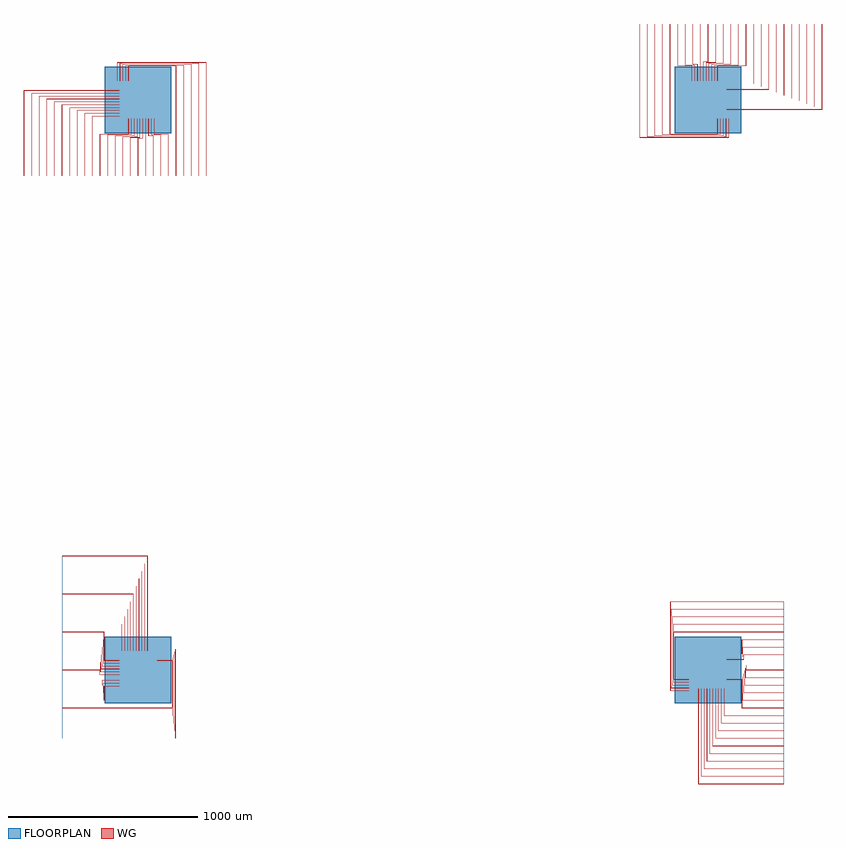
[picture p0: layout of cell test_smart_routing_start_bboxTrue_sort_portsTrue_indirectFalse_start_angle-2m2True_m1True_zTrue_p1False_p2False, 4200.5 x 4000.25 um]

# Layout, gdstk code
import gdstk
lib = gdstk.Library(unit=1e-6, precision=1e-09)
def R(c, l, rs):  # rectangles x0, y0, x1, y1
    for r in rs: c.add(gdstk.rectangle(r[:2], r[2:], *l))
def P(c, l, *ps):  # polygons
    for p in ps: c.add(gdstk.Polygon(p, *l))
WG = (1, 0)
FLOORPLAN = (10, 0)

test_smart_routing_start = lib.new_cell('test_smart_routing_start_bboxTrue_sort_portsTrue_indirectFalse_start_angle-2m2True_m1True_zTrue_p1False_p2False')
R(test_smart_routing_start, WG, [(-400,-40.25,-100,-39.75), (3100,39.75,3400,40.25), (39.75,2600,40.25,2900), (2959.75,3100,2960.25,3400)])
P(test_smart_routing_start, WG, [(49.75,100),(49.75,599.75),(-400,599.75),(-400,600.25),(50.25,600.25),(50.25,100)],
  [(34.75,100),(34.75,559.75),(-400,559.75),(-400,560.25),(35.25,560.25),(35.25,100)],
  [(19.75,100),(19.75,519.75),(-400,519.75),(-400,520.25),(20.25,520.25),(20.25,100)],
  [(4.75,100),(4.75,479.75),(-400,479.75),(-400,480.25),(5.25,480.25),(5.25,100)],
  [(-10.25,100),(-10.25,439.75),(-400,439.75),(-400,440.25),(-9.75,440.25),(-9.75,100)],
  [(-25.25,100),(-25.25,399.75),(-400,399.75),(-400,400.25),(-24.75,400.25),(-24.75,100)],
  [(-40.25,100),(-40.25,359.75),(-400,359.75),(-400,360.25),(-39.75,360.25),(-39.75,100)],
  [(-55.25,100),(-55.25,319.75),(-400,319.75),(-400,320.25),(-54.75,320.25),(-54.75,100)],
  [(-70.25,100),(-70.25,279.75),(-400,279.75),(-400,280.25),(-69.75,280.25),(-69.75,100)],
  [(-85.25,100),(-85.25,239.75),(-400,239.75),(-400,240.25),(-84.75,240.25),(-84.75,100)],
  [(-179.5,49.75),(-179.5,199.75),(-400,199.75),(-400,200.25),(-179,200.25),(-179,50.25),(-100,50.25),(-100,49.75)],
  [(-184,34.75),(-184,159.75),(-400,159.75),(-400,160.25),(-183.5,160.25),(-183.5,35.25),(-100,35.25),(-100,34.75)],
  [(-188.5,19.75),(-188.5,119.75),(-400,119.75),(-400,120.25),(-188,120.25),(-188,20.25),(-100,20.25),(-100,19.75)],
  [(-193,4.75),(-193,79.75),(-400,79.75),(-400,80.25),(-192.5,80.25),(-192.5,5.25),(-100,5.25),(-100,4.75)],
  [(-197.5,-10.25),(-197.5,39.75),(-400,39.75),(-400,40.25),(-197,40.25),(-197,-9.75),(-100,-9.75),(-100,-10.25)],
  [(-202,-25.25),(-202,-0.25),(-400,-0.25),(-400,0.25),(-201.5,0.25),(-201.5,-24.75),(-100,-24.75),(-100,-25.25)],
  [(-400,-80.25),(-400,-79.75),(-188.5,-79.75),(-188.5,-54.75),(-100,-54.75),(-100,-55.25),(-188,-55.25),(-188,-80.25)],
  [(-400,-120.25),(-400,-119.75),(-184,-119.75),(-184,-69.75),(-100,-69.75),(-100,-70.25),(-183.5,-70.25),(-183.5,-120.25)],
  [(-400,-160.25),(-400,-159.75),(-179.5,-159.75),(-179.5,-84.75),(-100,-84.75),(-100,-85.25),(-179,-85.25),(-179,-160.25)],
  [(-400,-200.25),(-400,-199.75),(179,-199.75),(179,49.75),(100,49.75),(100,50.25),(179.5,50.25),(179.5,-200.25)],
  [(-400,-240.25),(-400,-239.75),(183.5,-239.75),(183.5,64.75),(100,64.75),(100,65.25),(184,65.25),(184,-240.25)],
  [(-400,-280.25),(-400,-279.75),(188,-279.75),(188,79.75),(100,79.75),(100,80.25),(188.5,80.25),(188.5,-280.25)],
  [(-400,-320.25),(-400,-319.75),(192.5,-319.75),(192.5,94.75),(100,94.75),(100,95.25),(193,95.25),(193,-320.25)],
  [(-400,-360.25),(-400,-359.75),(197,-359.75),(197,109.75),(100,109.75),(100,110.25),(197.5,110.25),(197.5,-360.25)],
  [(-600.25,2600),(-600.25,3050.25),(-100,3050.25),(-100,3049.75),(-599.75,3049.75),(-599.75,2600)],
  [(-560.25,2600),(-560.25,3035.25),(-100,3035.25),(-100,3034.75),(-559.75,3034.75),(-559.75,2600)],
  [(-520.25,2600),(-520.25,3020.25),(-100,3020.25),(-100,3019.75),(-519.75,3019.75),(-519.75,2600)],
  [(-480.25,2600),(-480.25,3005.25),(-100,3005.25),(-100,3004.75),(-479.75,3004.75),(-479.75,2600)],
  [(-440.25,2600),(-440.25,2990.25),(-100,2990.25),(-100,2989.75),(-439.75,2989.75),(-439.75,2600)],
  [(-400.25,2600),(-400.25,2975.25),(-100,2975.25),(-100,2974.75),(-399.75,2974.75),(-399.75,2600)],
  [(-360.25,2600),(-360.25,2960.25),(-100,2960.25),(-100,2959.75),(-359.75,2959.75),(-359.75,2600)],
  [(-320.25,2600),(-320.25,2945.25),(-100,2945.25),(-100,2944.75),(-319.75,2944.75),(-319.75,2600)],
  [(-280.25,2600),(-280.25,2930.25),(-100,2930.25),(-100,2929.75),(-279.75,2929.75),(-279.75,2600)],
  [(-240.25,2600),(-240.25,2915.25),(-100,2915.25),(-100,2914.75),(-239.75,2914.75),(-239.75,2600)],
  [(-200.25,2600),(-200.25,2821),(-50.25,2821),(-50.25,2900),(-49.75,2900),(-49.75,2820.5),(-199.75,2820.5),(-199.75,2600)],
  [(-160.25,2600),(-160.25,2816.5),(-35.25,2816.5),(-35.25,2900),(-34.75,2900),(-34.75,2816),(-159.75,2816),(-159.75,2600)],
  [(-120.25,2600),(-120.25,2812),(-20.25,2812),(-20.25,2900),(-19.75,2900),(-19.75,2811.5),(-119.75,2811.5),(-119.75,2600)],
  [(-80.25,2600),(-80.25,2807.5),(-5.25,2807.5),(-5.25,2900),(-4.75,2900),(-4.75,2807),(-79.75,2807),(-79.75,2600)],
  [(-40.25,2600),(-40.25,2803),(9.75,2803),(9.75,2900),(10.25,2900),(10.25,2802.5),(-39.75,2802.5),(-39.75,2600)],
  [(-0.25,2600),(-0.25,2798.5),(24.75,2798.5),(24.75,2900),(25.25,2900),(25.25,2798),(0.25,2798),(0.25,2600)],
  [(79.75,2600),(79.75,2811.5),(54.75,2811.5),(54.75,2900),(55.25,2900),(55.25,2812),(80.25,2812),(80.25,2600)],
  [(119.75,2600),(119.75,2816),(69.75,2816),(69.75,2900),(70.25,2900),(70.25,2816.5),(120.25,2816.5),(120.25,2600)],
  [(159.75,2600),(159.75,2820.5),(84.75,2820.5),(84.75,2900),(85.25,2900),(85.25,2821),(160.25,2821),(160.25,2600)],
  [(199.75,2600),(199.75,3179),(-49.75,3179),(-49.75,3100),(-50.25,3100),(-50.25,3179.5),(200.25,3179.5),(200.25,2600)],
  [(239.75,2600),(239.75,3183.5),(-64.75,3183.5),(-64.75,3100),(-65.25,3100),(-65.25,3184),(240.25,3184),(240.25,2600)],
  [(279.75,2600),(279.75,3188),(-79.75,3188),(-79.75,3100),(-80.25,3100),(-80.25,3188.5),(280.25,3188.5),(280.25,2600)],
  [(319.75,2600),(319.75,3192.5),(-94.75,3192.5),(-94.75,3100),(-95.25,3100),(-95.25,3193),(320.25,3193),(320.25,2600)],
  [(359.75,2600),(359.75,3197),(-109.75,3197),(-109.75,3100),(-110.25,3100),(-110.25,3197.5),(360.25,3197.5),(360.25,2600)],
  [(2949.75,-600.25),(2949.75,-100),(2950.25,-100),(2950.25,-599.75),(3400,-599.75),(3400,-600.25)],
  [(2964.75,-560.25),(2964.75,-100),(2965.25,-100),(2965.25,-559.75),(3400,-559.75),(3400,-560.25)],
  [(2979.75,-520.25),(2979.75,-100),(2980.25,-100),(2980.25,-519.75),(3400,-519.75),(3400,-520.25)],
  [(2994.75,-480.25),(2994.75,-100),(2995.25,-100),(2995.25,-479.75),(3400,-479.75),(3400,-480.25)],
  [(3009.75,-440.25),(3009.75,-100),(3010.25,-100),(3010.25,-439.75),(3400,-439.75),(3400,-440.25)],
  [(3024.75,-400.25),(3024.75,-100),(3025.25,-100),(3025.25,-399.75),(3400,-399.75),(3400,-400.25)],
  [(3039.75,-360.25),(3039.75,-100),(3040.25,-100),(3040.25,-359.75),(3400,-359.75),(3400,-360.25)],
  [(3054.75,-320.25),(3054.75,-100),(3055.25,-100),(3055.25,-319.75),(3400,-319.75),(3400,-320.25)],
  [(3069.75,-280.25),(3069.75,-100),(3070.25,-100),(3070.25,-279.75),(3400,-279.75),(3400,-280.25)],
  [(3084.75,-240.25),(3084.75,-100),(3085.25,-100),(3085.25,-239.75),(3400,-239.75),(3400,-240.25)],
  [(3179,-200.25),(3179,-50.25),(3100,-50.25),(3100,-49.75),(3179.5,-49.75),(3179.5,-199.75),(3400,-199.75),(3400,-200.25)],
  [(3183.5,-160.25),(3183.5,-35.25),(3100,-35.25),(3100,-34.75),(3184,-34.75),(3184,-159.75),(3400,-159.75),(3400,-160.25)],
  [(3188,-120.25),(3188,-20.25),(3100,-20.25),(3100,-19.75),(3188.5,-19.75),(3188.5,-119.75),(3400,-119.75),(3400,-120.25)],
  [(3192.5,-80.25),(3192.5,-5.25),(3100,-5.25),(3100,-4.75),(3193,-4.75),(3193,-79.75),(3400,-79.75),(3400,-80.25)],
  [(3197,-40.25),(3197,9.75),(3100,9.75),(3100,10.25),(3197.5,10.25),(3197.5,-39.75),(3400,-39.75),(3400,-40.25)],
  [(3201.5,-0.25),(3201.5,24.75),(3100,24.75),(3100,25.25),(3202,25.25),(3202,0.25),(3400,0.25),(3400,-0.25)],
  [(3100,54.75),(3100,55.25),(3188,55.25),(3188,80.25),(3400,80.25),(3400,79.75),(3188.5,79.75),(3188.5,54.75)],
  [(3100,69.75),(3100,70.25),(3183.5,70.25),(3183.5,120.25),(3400,120.25),(3400,119.75),(3184,119.75),(3184,69.75)],
  [(3100,84.75),(3100,85.25),(3179,85.25),(3179,160.25),(3400,160.25),(3400,159.75),(3179.5,159.75),(3179.5,84.75)],
  [(2820.5,-50.25),(2820.5,200.25),(3400,200.25),(3400,199.75),(2821,199.75),(2821,-49.75),(2900,-49.75),(2900,-50.25)],
  [(2816,-65.25),(2816,240.25),(3400,240.25),(3400,239.75),(2816.5,239.75),(2816.5,-64.75),(2900,-64.75),(2900,-65.25)],
  [(2811.5,-80.25),(2811.5,280.25),(3400,280.25),(3400,279.75),(2812,279.75),(2812,-79.75),(2900,-79.75),(2900,-80.25)],
  [(2807,-95.25),(2807,320.25),(3400,320.25),(3400,319.75),(2807.5,319.75),(2807.5,-94.75),(2900,-94.75),(2900,-95.25)],
  [(2802.5,-110.25),(2802.5,360.25),(3400,360.25),(3400,359.75),(2803,359.75),(2803,-109.75),(2900,-109.75),(2900,-110.25)],
  [(3100,2949.75),(3100,2950.25),(3599.75,2950.25),(3599.75,3400),(3600.25,3400),(3600.25,2949.75)],
  [(3100,2964.75),(3100,2965.25),(3559.75,2965.25),(3559.75,3400),(3560.25,3400),(3560.25,2964.75)],
  [(3100,2979.75),(3100,2980.25),(3519.75,2980.25),(3519.75,3400),(3520.25,3400),(3520.25,2979.75)],
  [(3100,2994.75),(3100,2995.25),(3479.75,2995.25),(3479.75,3400),(3480.25,3400),(3480.25,2994.75)],
  [(3100,3009.75),(3100,3010.25),(3439.75,3010.25),(3439.75,3400),(3440.25,3400),(3440.25,3009.75)],
  [(3100,3024.75),(3100,3025.25),(3399.75,3025.25),(3399.75,3400),(3400.25,3400),(3400.25,3024.75)],
  [(3100,3039.75),(3100,3040.25),(3359.75,3040.25),(3359.75,3400),(3360.25,3400),(3360.25,3039.75)],
  [(3100,3054.75),(3100,3055.25),(3319.75,3055.25),(3319.75,3400),(3320.25,3400),(3320.25,3054.75)],
  [(3100,3069.75),(3100,3070.25),(3279.75,3070.25),(3279.75,3400),(3280.25,3400),(3280.25,3069.75)],
  [(3100,3084.75),(3100,3085.25),(3239.75,3085.25),(3239.75,3400),(3240.25,3400),(3240.25,3084.75)],
  [(3049.75,3100),(3049.75,3179.5),(3199.75,3179.5),(3199.75,3400),(3200.25,3400),(3200.25,3179),(3050.25,3179),(3050.25,3100)],
  [(3034.75,3100),(3034.75,3184),(3159.75,3184),(3159.75,3400),(3160.25,3400),(3160.25,3183.5),(3035.25,3183.5),(3035.25,3100)],
  [(3019.75,3100),(3019.75,3188.5),(3119.75,3188.5),(3119.75,3400),(3120.25,3400),(3120.25,3188),(3020.25,3188),(3020.25,3100)],
  [(3004.75,3100),(3004.75,3193),(3079.75,3193),(3079.75,3400),(3080.25,3400),(3080.25,3192.5),(3005.25,3192.5),(3005.25,3100)],
  [(2989.75,3100),(2989.75,3197.5),(3039.75,3197.5),(3039.75,3400),(3040.25,3400),(3040.25,3197),(2990.25,3197),(2990.25,3100)],
  [(2974.75,3100),(2974.75,3202),(2999.75,3202),(2999.75,3400),(3000.25,3400),(3000.25,3201.5),(2975.25,3201.5),(2975.25,3100)],
  [(2944.75,3100),(2944.75,3188),(2919.75,3188),(2919.75,3400),(2920.25,3400),(2920.25,3188.5),(2945.25,3188.5),(2945.25,3100)],
  [(2929.75,3100),(2929.75,3183.5),(2879.75,3183.5),(2879.75,3400),(2880.25,3400),(2880.25,3184),(2930.25,3184),(2930.25,3100)],
  [(2914.75,3100),(2914.75,3179),(2839.75,3179),(2839.75,3400),(2840.25,3400),(2840.25,3179.5),(2915.25,3179.5),(2915.25,3100)],
  [(2799.75,2820.5),(2799.75,3400),(2800.25,3400),(2800.25,2821),(3049.75,2821),(3049.75,2900),(3050.25,2900),(3050.25,2820.5)],
  [(2759.75,2816),(2759.75,3400),(2760.25,3400),(2760.25,2816.5),(3064.75,2816.5),(3064.75,2900),(3065.25,2900),(3065.25,2816)],
  [(2719.75,2811.5),(2719.75,3400),(2720.25,3400),(2720.25,2812),(3079.75,2812),(3079.75,2900),(3080.25,2900),(3080.25,2811.5)],
  [(2679.75,2807),(2679.75,3400),(2680.25,3400),(2680.25,2807.5),(3094.75,2807.5),(3094.75,2900),(3095.25,2900),(3095.25,2807)],
  [(2639.75,2802.5),(2639.75,3400),(2640.25,3400),(2640.25,2803),(3109.75,2803),(3109.75,2900),(3110.25,2900),(3110.25,2802.5)])
R(test_smart_routing_start, FLOORPLAN, [(-175,-175,175,175), (2825,-175,3175,175), (-175,2825,175,3175), (2825,2825,3175,3175)])
P(test_smart_routing_start, FLOORPLAN, [(-400,-360),(-400,600),(-400,600),(-400,-360)],
  [(-600,2600),(-600,2600),(360,2600),(360,2600)],
  [(3400,-600),(3400,360),(3400,360),(3400,-600)],
  [(2640,3400),(2640,3400),(3600,3400),(3600,3400)])

lib.write_gds('test_smart_routing_start_bboxTrue_sort_portsTrue_indirectFalse_start_angle-2m2True_m1True_zTrue_p1False_p2False.gds')
